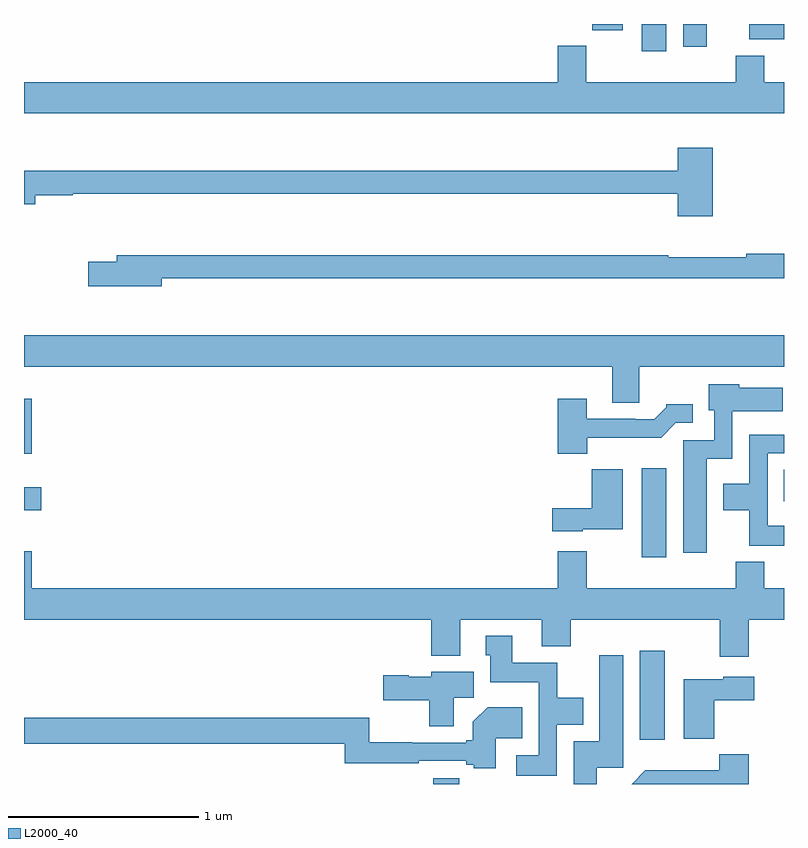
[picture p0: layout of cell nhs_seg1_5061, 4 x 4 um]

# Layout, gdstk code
import gdstk
lib = gdstk.Library(unit=1e-6, precision=1e-09)
def R(c, l, rs):  # rectangles x0, y0, x1, y1
    for r in rs: c.add(gdstk.rectangle(r[:2], r[2:], *l))
def P(c, l, *ps):  # polygons
    for p in ps: c.add(gdstk.Polygon(p, *l))
L2000_40 = (2000, 40)

nhs_seg1_5061 = lib.new_cell('nhs_seg1_5061')
R(nhs_seg1_5061, L2000_40, [(387.154,552.199,387.29,552.229), (388.241,552.432,388.372,552.901), (388.25,553.392,388.381,553.861), (385,553.64,385.09,553.762), (388.999,553.688,389,553.852), (385,553.937,385.04,554.227), (388.25,556.056,388.381,556.199), (388.469,556.08,388.594,556.199), (388.816,556.118,389,556.199), (387.99,556.165,388.15,556.199)])
P(nhs_seg1_5061, L2000_40, [(389,555.892),(388.897,555.892),(388.897,556.033),(388.745,556.033),(388.745,555.892),(387.959,555.892),(387.959,556.085),(387.809,556.085),(387.809,555.892),(385,555.892),(385,555.728),(389,555.728)],
  [(388.625,555.547),(388.442,555.547),(388.442,555.427),(385,555.427),(385,555.251),(385.06,555.251),(385.06,555.298),(385.256,555.298),(385.256,555.306),(388.442,555.306),(388.442,555.186),(388.625,555.186)],
  [(385.726,554.862),(389,554.862),(389,554.99),(388.802,554.99),(388.802,554.972),(388.391,554.972),(388.391,554.983),(385.487,554.983),(385.487,554.949),(385.338,554.949),(385.338,554.819),(385.726,554.819)],
  [(388.237,554.396),(389,554.396),(389,554.56),(385,554.56),(385,554.396),(388.097,554.396),(388.097,554.206),(388.237,554.206)],
  [(388.594,553.91),(388.728,553.91),(388.728,554.162),(388.993,554.162),(388.993,554.284),(388.764,554.284),(388.764,554.302),(388.604,554.302),(388.604,554.166),(388.632,554.166),(388.632,554.007),(388.469,554.007),(388.469,553.416),(388.594,553.416)],
  [(387.964,554.022),(388.353,554.022),(388.431,554.1),(388.519,554.1),(388.519,554.197),(388.38,554.197),(388.38,554.182),(388.316,554.118),(388.217,554.118),(388.217,554.121),(387.961,554.121),(387.961,554.227),(387.809,554.227),(387.809,553.937),(387.964,553.937)],
  [(389,553.558),(388.914,553.558),(388.914,553.941),(389,553.941),(389,554.037),(388.818,554.037),(388.818,553.78),(388.679,553.78),(388.679,553.64),(388.816,553.64),(388.816,553.454),(389,553.454)],
  [(387.942,553.541),(388.15,553.541),(388.15,553.855),(387.988,553.855),(387.988,553.651),(387.78,553.651),(387.78,553.529),(387.942,553.529)],
  [(388.814,553.064),(389,553.064),(389,553.228),(388.897,553.228),(388.897,553.369),(388.745,553.369),(388.745,553.228),(387.961,553.228),(387.961,553.423),(387.809,553.423),(387.809,553.228),(385.04,553.228),(385.04,553.423),(385,553.423),(385,553.064),(387.143,553.064),(387.143,552.875),(387.295,552.875),(387.295,553.064),(387.725,553.064),(387.725,552.923),(387.878,552.923),(387.878,553.064),(388.661,553.064),(388.661,552.87),(388.814,552.87)],
  [(387.804,552.512),(387.943,552.512),(387.943,552.652),(387.807,552.652),(387.807,552.838),(387.571,552.838),(387.571,552.979),(387.431,552.979),(387.431,552.876),(387.455,552.876),(387.455,552.734),(387.708,552.734),(387.708,552.351),(387.591,552.351),(387.591,552.243),(387.804,552.243)],
  [(388.015,552.285),(388.153,552.285),(388.153,552.877),(388.028,552.877),(388.028,552.424),(387.893,552.424),(387.893,552.199),(388.015,552.199)],
  [(387.262,552.652),(387.367,552.652),(387.367,552.79),(387.144,552.79),(387.144,552.763),(387.024,552.763),(387.024,552.771),(386.892,552.771),(386.892,552.641),(387.133,552.641),(387.133,552.504),(387.262,552.504)],
  [(388.634,552.641),(388.843,552.641),(388.843,552.763),(388.68,552.763),(388.68,552.751),(388.472,552.751),(388.472,552.437),(388.634,552.437)],
  [(387.484,552.44),(387.623,552.44),(387.623,552.604),(387.44,552.604),(387.362,552.526),(387.362,552.43),(387.327,552.43),(387.327,552.417),(387.044,552.417),(387.044,552.42),(386.818,552.42),(386.818,552.548),(385,552.548),(385,552.412),(386.689,552.412),(386.689,552.309),(387.077,552.309),(387.077,552.321),(387.327,552.321),(387.327,552.301),(387.366,552.301),(387.366,552.283),(387.484,552.283)],
  [(388.814,552.355),(388.659,552.355),(388.659,552.271),(388.27,552.271),(388.198,552.199),(388.814,552.199)])

lib.write_gds('nhs_seg1_5061.gds')
